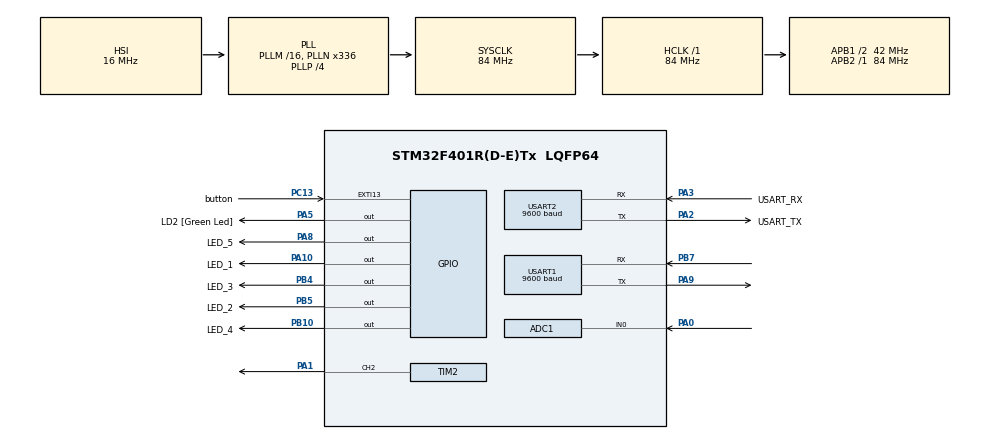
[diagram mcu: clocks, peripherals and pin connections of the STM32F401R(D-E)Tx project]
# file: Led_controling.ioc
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ADC1.Channel-2\#ChannelRegularConversion=ADC_CHANNEL_0
ADC1.NbrOfConversionFlag=1
ADC1.Rank-2\#ChannelRegularConversion=1
ADC1.SamplingTime-2\#ChannelRegularConversion=ADC_SAMPLETIME_3CYCLES
ADC1.master=1
Mcu.Family=STM32F4
Mcu.Name=STM32F401R(D-E)Tx
Mcu.Package=LQFP64
NVIC.EXTI15_10_IRQn=true\:0\:0\:false\:false\:true\:true\:true\:true
NVIC.PriorityGroup=NVIC_PRIORITYGROUP_0
PA0-WKUP.Signal=ADCx_IN0
PA1.Signal=S_TIM2_CH2
PA10.GPIO_Label=LED_1
PA10.Signal=GPIO_Output
PA13.GPIO_Label=TMS
PA13.Mode=Serial_Wire
PA13.Signal=SYS_JTMS-SWDIO
PA14.GPIO_Label=TCK
PA14.Mode=Serial_Wire
PA14.Signal=SYS_JTCK-SWCLK
PA2.GPIO_Label=USART_TX
PA2.GPIO_Mode=GPIO_MODE_AF_PP
PA2.GPIO_PuPd=GPIO_NOPULL
PA2.GPIO_Speed=GPIO_SPEED_FREQ_LOW
PA2.Mode=Asynchronous
PA2.Signal=USART2_TX
PA3.GPIO_Label=USART_RX
PA3.GPIO_Mode=GPIO_MODE_AF_PP
PA3.GPIO_PuPd=GPIO_NOPULL
PA3.GPIO_Speed=GPIO_SPEED_FREQ_LOW
PA3.Mode=Asynchronous
PA3.Signal=USART2_RX
PA5.GPIO_Label=LD2 [Green Led]
PA5.GPIO_Mode=GPIO_MODE_OUTPUT_PP
PA5.GPIO_PuPd=GPIO_NOPULL
PA5.GPIO_Speed=GPIO_SPEED_FREQ_LOW
PA5.Signal=GPIO_Output
PA8.GPIO_Label=LED_5
PA8.Signal=GPIO_Output
PA9.Mode=Asynchronous
PA9.Signal=USART1_TX
PB10.GPIO_Label=LED_4
PB10.Signal=GPIO_Output
PB3.GPIO_Label=SWO
PB3.Signal=SYS_JTDO-SWO
PB4.GPIO_Label=LED_3
PB4.Signal=GPIO_Output
PB5.GPIO_Label=LED_2
PB5.Signal=GPIO_Output
PB7.Mode=Asynchronous
PB7.Signal=USART1_RX
PC13-ANTI_TAMP.GPIO_Label=button
PC13-ANTI_TAMP.Signal=GPXTI13
PC14-OSC32_IN.Mode=LSE-External-Oscillator
PC14-OSC32_IN.Signal=RCC_OSC32_IN
PC15-OSC32_OUT.Mode=LSE-External-Oscillator
PC15-OSC32_OUT.Signal=RCC_OSC32_OUT
PH0\ -\ OSC_IN.Mode=HSE-External-Oscillator
PH0\ -\ OSC_IN.Signal=RCC_OSC_IN
PH1\ -\ OSC_OUT.Mode=HSE-External-Oscillator
PH1\ -\ OSC_OUT.Signal=RCC_OSC_OUT
ProjectManager.HeapSize=0x200
ProjectManager.StackSize=0x400
ProjectManager.TargetToolchain=STM32CubeIDE
RCC.48MHZClocksFreq_Value=48000000
RCC.AHBFreq_Value=84000000
RCC.APB1CLKDivider=RCC_HCLK_DIV2
RCC.APB1Freq_Value=42000000
RCC.APB1TimFreq_Value=84000000
RCC.APB2Freq_Value=84000000
RCC.APB2TimFreq_Value=84000000
RCC.CortexFreq_Value=84000000
RCC.HCLKFreq_Value=84000000
RCC.HSE_VALUE=8000000
RCC.HSI_VALUE=16000000
RCC.PLLN=336
RCC.PLLP=RCC_PLLP_DIV4
RCC.PLLQ=7
RCC.SYSCLKFreq_VALUE=84000000
RCC.SYSCLKSource=RCC_SYSCLKSOURCE_PLLCLK
RCC.VCOOutputFreq_Value=336000000
SH.ADCx_IN0.0=ADC1_IN0,IN0
SH.S_TIM2_CH2.0=TIM2_CH2,PWM Generation2 CH2
TIM2.Channel-PWM\ Generation2\ CH2=TIM_CHANNEL_2
TIM2.Period=4096
TIM2.Prescaler=2
USART1.BaudRate=9600
USART1.VirtualMode=VM_ASYNC
USART2.BaudRate=9600
USART2.VirtualMode=VM_ASYNC
VP_TIM2_VS_ClockSourceINT.Mode=Internal
board=NUCLEO-F401RE

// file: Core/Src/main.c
/* USER CODE BEGIN Header */
/**
  ******************************************************************************
  * @file           : main.c
  * @brief          : Main program body
  ******************************************************************************
  * @attention
  *
  * Copyright (c) 2023 STMicroelectronics.
  * All rights reserved.
  *
  * This software is licensed under terms that can be found in the LICENSE file
  * in the root directory of this software component.
  * If no LICENSE file comes with this software, it is provided AS-IS.
  *
  ******************************************************************************
  */
/* USER CODE END Header */
#include "main.h"

/* USER CODE BEGIN Includes */
#include <string.h>
#include <stdio.h>

uint16_t step;
uint16_t button = 0;
uint16_t data = 0;
//uint8_t pins[5]

/* USER CODE END Includes */

ADC_HandleTypeDef hadc1;

TIM_HandleTypeDef htim2;

UART_HandleTypeDef huart1;
UART_HandleTypeDef huart2;

void SystemClock_Config(void);
static void MX_GPIO_Init(void);
static void MX_USART2_UART_Init(void);
static void MX_ADC1_Init(void);
static void MX_TIM2_Init(void);
static void MX_USART1_UART_Init(void);

int main(void)
{

  /* MCU Configuration--------------------------------------------------------*/

  /* Reset of all peripherals, Initializes the Flash interface and the Systick. */
  HAL_Init();

  /* Configure the system clock */
  SystemClock_Config();

  /* Initialize all configured peripherals */
  MX_GPIO_Init();
  MX_USART2_UART_Init();
  MX_ADC1_Init();
  MX_TIM2_Init();
  MX_USART1_UART_Init();
  /* USER CODE BEGIN 2 */

  HAL_TIM_Base_Start(&htim2);
  HAL_TIM_PWM_Start(&htim2, TIM_CHANNEL_2);
  /* USER CODE END 2 */

  /* Infinite loop */
  /* USER CODE BEGIN WHILE */
  while (1)
  {
	  //funtion for switching button value is implemented at the bottom
	 if(button == 1)
	 {
		 HAL_ADC_Start(&hadc1);
		 HAL_ADC_PollForConversion(&hadc1, HAL_MAX_DELAY);
		 step = HAL_ADC_GetValue(&hadc1);

		 __HAL_TIM_SetCompare(&htim2, TIM_CHANNEL_2, step);
		 HAL_Delay(5);
	 }
	 else
	 {
		 HAL_UART_Receive (&huart1, &data, sizeof(data), 100);
		 //htio sam napraviti funkciju koja će paliti, odnosno gasiti pojedine ledice,
		 //ali nisam znao kako napraviti polje portova i pinova
		 //u svakom case-u bih proslijedio dobiveni podatak funkciji
		 //u for petlji koja bi isla npr do 5, usporediti npr if( i == 3)
		 //predati funkciji HAL_GPIO_WritePin(poljeportova[i], poljepinova[i], GPIO_PIN_SET)
		 //else HAL_GPIO_WritePin(poljeportova[i], poljepinova[i], GPIO_PIN_RESET)
		 switch(data)
		 {
		 case '1':
			 HAL_GPIO_WritePin(LED_1_GPIO_Port, LED_1_Pin, GPIO_PIN_SET);
			 HAL_GPIO_WritePin(LED_2_GPIO_Port, LED_2_Pin, GPIO_PIN_RESET);
			 HAL_GPIO_WritePin(LED_3_GPIO_Port, LED_3_Pin, GPIO_PIN_RESET);
			 HAL_GPIO_WritePin(LED_4_GPIO_Port, LED_4_Pin, GPIO_PIN_RESET);
			 HAL_GPIO_WritePin(LED_5_GPIO_Port, LED_5_Pin, GPIO_PIN_RESET);
			 break;

		 case '2':
			 HAL_GPIO_WritePin(LED_1_GPIO_Port, LED_1_Pin, GPIO_PIN_RESET);
			 HAL_GPIO_WritePin(LED_2_GPIO_Port, LED_2_Pin, GPIO_PIN_SET);
			 HAL_GPIO_WritePin(LED_3_GPIO_Port, LED_3_Pin, GPIO_PIN_RESET);
			 HAL_GPIO_WritePin(LED_4_GPIO_Port, LED_4_Pin, GPIO_PIN_RESET);
			 HAL_GPIO_WritePin(LED_5_GPIO_Port, LED_5_Pin, GPIO_PIN_RESET);
			 break;

		 case '3':
			 HAL_GPIO_WritePin(LED_1_GPIO_Port, LED_1_Pin, GPIO_PIN_RESET);
			 HAL_GPIO_WritePin(LED_2_GPIO_Port, LED_2_Pin, GPIO_PIN_RESET);
			 HAL_GPIO_WritePin(LED_3_GPIO_Port, LED_3_Pin, GPIO_PIN_SET);
			 HAL_GPIO_WritePin(LED_4_GPIO_Port, LED_4_Pin, GPIO_PIN_RESET);
			 HAL_GPIO_WritePin(LED_5_GPIO_Port, LED_5_Pin, GPIO_PIN_RESET);
			 break;

		 case '4':
		 	 HAL_GPIO_WritePin(LED_1_GPIO_Port, LED_1_Pin, GPIO_PIN_RESET);
		 	 HAL_GPIO_WritePin(LED_2_GPIO_Port, LED_2_Pin, GPIO_PIN_RESET);
		 	 HAL_GPIO_WritePin(LED_3_GPIO_Port, LED_3_Pin, GPIO_PIN_RESET);
		 	 HAL_GPIO_WritePin(LED_4_GPIO_Port, LED_4_Pin, GPIO_PIN_SET);
		 	 HAL_GPIO_WritePin(LED_5_GPIO_Port, LED_5_Pin, GPIO_PIN_RESET);
		 	 break;

		 case '5':
			 HAL_GPIO_WritePin(LED_1_GPIO_Port, LED_1_Pin, GPIO_PIN_RESET);
			 HAL_GPIO_WritePin(LED_2_GPIO_Port, LED_2_Pin, GPIO_PIN_RESET);
			 HAL_GPIO_WritePin(LED_3_GPIO_Port, LED_3_Pin, GPIO_PIN_RESET);
			 HAL_GPIO_WritePin(LED_4_GPIO_Port, LED_4_Pin, GPIO_PIN_RESET);
			 HAL_GPIO_WritePin(LED_5_GPIO_Port, LED_5_Pin, GPIO_PIN_SET);
		 	 break;

		 default:
			 HAL_GPIO_WritePin(LED_1_GPIO_Port, LED_1_Pin, GPIO_PIN_RESET);
			 HAL_GPIO_WritePin(LED_2_GPIO_Port, LED_2_Pin, GPIO_PIN_RESET);
			 HAL_GPIO_WritePin(LED_3_GPIO_Port, LED_3_Pin, GPIO_PIN_RESET);
			 HAL_GPIO_WritePin(LED_4_GPIO_Port, LED_4_Pin, GPIO_PIN_RESET);
			 HAL_GPIO_WritePin(LED_5_GPIO_Port, LED_5_Pin, GPIO_PIN_RESET);
			 break;
		 }

	 }

    /* USER CODE END WHILE */

  }
}

void SystemClock_Config(void)
{
  RCC_OscInitTypeDef RCC_OscInitStruct = {0};
  RCC_ClkInitTypeDef RCC_ClkInitStruct = {0};

  /** Configure the main internal regulator output voltage
  */
  __HAL_RCC_PWR_CLK_ENABLE();
  __HAL_PWR_VOLTAGESCALING_CONFIG(PWR_REGULATOR_VOLTAGE_SCALE2);

  /** Initializes the RCC Oscillators according to the specified parameters
  * in the RCC_OscInitTypeDef structure.
  */
  RCC_OscInitStruct.OscillatorType = RCC_OSCILLATORTYPE_HSI;
  RCC_OscInitStruct.HSIState = RCC_HSI_ON;
  RCC_OscInitStruct.HSICalibrationValue = RCC_HSICALIBRATION_DEFAULT;
  RCC_OscInitStruct.PLL.PLLState = RCC_PLL_ON;
  RCC_OscInitStruct.PLL.PLLSource = RCC_PLLSOURCE_HSI;
  RCC_OscInitStruct.PLL.PLLM = 16;
  RCC_OscInitStruct.PLL.PLLN = 336;
  RCC_OscInitStruct.PLL.PLLP = RCC_PLLP_DIV4;
  RCC_OscInitStruct.PLL.PLLQ = 7;
  if (HAL_RCC_OscConfig(&RCC_OscInitStruct) != HAL_OK)
  {
    Error_Handler();
  }

  /** Initializes the CPU, AHB and APB buses clocks
  */
  RCC_ClkInitStruct.ClockType = RCC_CLOCKTYPE_HCLK|RCC_CLOCKTYPE_SYSCLK
                              |RCC_CLOCKTYPE_PCLK1|RCC_CLOCKTYPE_PCLK2;
  RCC_ClkInitStruct.SYSCLKSource = RCC_SYSCLKSOURCE_PLLCLK;
  RCC_ClkInitStruct.AHBCLKDivider = RCC_SYSCLK_DIV1;
  RCC_ClkInitStruct.APB1CLKDivider = RCC_HCLK_DIV2;
  RCC_ClkInitStruct.APB2CLKDivider = RCC_HCLK_DIV1;

  if (HAL_RCC_ClockConfig(&RCC_ClkInitStruct, FLASH_LATENCY_2) != HAL_OK)
  {
    Error_Handler();
  }
}

static void MX_ADC1_Init(void)
{

  ADC_ChannelConfTypeDef sConfig = {0};

  /** Configure the global features of the ADC (Clock, Resolution, Data Alignment and number of conversion)
  */
  hadc1.Instance = ADC1;
  hadc1.Init.ClockPrescaler = ADC_CLOCK_SYNC_PCLK_DIV4;
  hadc1.Init.Resolution = ADC_RESOLUTION_12B;
  hadc1.Init.ScanConvMode = DISABLE;
  hadc1.Init.ContinuousConvMode = DISABLE;
  hadc1.Init.DiscontinuousConvMode = DISABLE;
  hadc1.Init.ExternalTrigConvEdge = ADC_EXTERNALTRIGCONVEDGE_NONE;
  hadc1.Init.ExternalTrigConv = ADC_SOFTWARE_START;
  hadc1.Init.DataAlign = ADC_DATAALIGN_RIGHT;
  hadc1.Init.NbrOfConversion = 1;
  hadc1.Init.DMAContinuousRequests = DISABLE;
  hadc1.Init.EOCSelection = ADC_EOC_SINGLE_CONV;
  if (HAL_ADC_Init(&hadc1) != HAL_OK)
  {
    Error_Handler();
  }

  /** Configure for the selected ADC regular channel its corresponding rank in the sequencer and its sample time.
  */
  sConfig.Channel = ADC_CHANNEL_0;
  sConfig.Rank = 1;
  sConfig.SamplingTime = ADC_SAMPLETIME_3CYCLES;
  if (HAL_ADC_ConfigChannel(&hadc1, &sConfig) != HAL_OK)
  {
    Error_Handler();
  }

}

static void MX_TIM2_Init(void)
{

  TIM_ClockConfigTypeDef sClockSourceConfig = {0};
  TIM_MasterConfigTypeDef sMasterConfig = {0};
  TIM_OC_InitTypeDef sConfigOC = {0};

  htim2.Instance = TIM2;
  htim2.Init.Prescaler = 2;
  htim2.Init.CounterMode = TIM_COUNTERMODE_UP;
  htim2.Init.Period = 4096;
  htim2.Init.ClockDivision = TIM_CLOCKDIVISION_DIV1;
  htim2.Init.AutoReloadPreload = TIM_AUTORELOAD_PRELOAD_DISABLE;
  if (HAL_TIM_Base_Init(&htim2) != HAL_OK)
  {
    Error_Handler();
  }
  sClockSourceConfig.ClockSource = TIM_CLOCKSOURCE_INTERNAL;
  if (HAL_TIM_ConfigClockSource(&htim2, &sClockSourceConfig) != HAL_OK)
  {
    Error_Handler();
  }
  if (HAL_TIM_PWM_Init(&htim2) != HAL_OK)
  {
    Error_Handler();
  }
  sMasterConfig.MasterOutputTrigger = TIM_TRGO_RESET;
  sMasterConfig.MasterSlaveMode = TIM_MASTERSLAVEMODE_DISABLE;
  if (HAL_TIMEx_MasterConfigSynchronization(&htim2, &sMasterConfig) != HAL_OK)
  {
    Error_Handler();
  }
  sConfigOC.OCMode = TIM_OCMODE_PWM1;
  sConfigOC.Pulse = 0;
  sConfigOC.OCPolarity = TIM_OCPOLARITY_HIGH;
  sConfigOC.OCFastMode = TIM_OCFAST_DISABLE;
  if (HAL_TIM_PWM_ConfigChannel(&htim2, &sConfigOC, TIM_CHANNEL_2) != HAL_OK)
  {
    Error_Handler();
  }
  HAL_TIM_MspPostInit(&htim2);

}

static void MX_USART1_UART_Init(void)
{

  huart1.Instance = USART1;
  huart1.Init.BaudRate = 9600;
  huart1.Init.WordLength = UART_WORDLENGTH_8B;
  huart1.Init.StopBits = UART_STOPBITS_1;
  huart1.Init.Parity = UART_PARITY_NONE;
  huart1.Init.Mode = UART_MODE_TX_RX;
  huart1.Init.HwFlowCtl = UART_HWCONTROL_NONE;
  huart1.Init.OverSampling = UART_OVERSAMPLING_16;
  if (HAL_UART_Init(&huart1) != HAL_OK)
  {
    Error_Handler();
  }

}

static void MX_USART2_UART_Init(void)
{

  huart2.Instance = USART2;
  huart2.Init.BaudRate = 9600;
  huart2.Init.WordLength = UART_WORDLENGTH_8B;
  huart2.Init.StopBits = UART_STOPBITS_1;
  huart2.Init.Parity = UART_PARITY_NONE;
  huart2.Init.Mode = UART_MODE_TX_RX;
  huart2.Init.HwFlowCtl = UART_HWCONTROL_NONE;
  huart2.Init.OverSampling = UART_OVERSAMPLING_16;
  if (HAL_UART_Init(&huart2) != HAL_OK)
  {
    Error_Handler();
  }

}

static void MX_GPIO_Init(void)
{
  GPIO_InitTypeDef GPIO_InitStruct = {0};

  /* GPIO Ports Clock Enable */
  __HAL_RCC_GPIOC_CLK_ENABLE();
  __HAL_RCC_GPIOH_CLK_ENABLE();
  __HAL_RCC_GPIOA_CLK_ENABLE();
  __HAL_RCC_GPIOB_CLK_ENABLE();

  /*Configure GPIO pin Output Level */
  HAL_GPIO_WritePin(GPIOA, LD2_Pin|LED_5_Pin|LED_1_Pin, GPIO_PIN_RESET);

  /*Configure GPIO pin Output Level */
  HAL_GPIO_WritePin(GPIOB, LED_4_Pin|LED_3_Pin|LED_2_Pin, GPIO_PIN_RESET);

  /*Configure GPIO pin : button_Pin */
  GPIO_InitStruct.Pin = button_Pin;
  GPIO_InitStruct.Mode = GPIO_MODE_IT_RISING;
  GPIO_InitStruct.Pull = GPIO_NOPULL;
  HAL_GPIO_Init(button_GPIO_Port, &GPIO_InitStruct);

  /*Configure GPIO pins : LD2_Pin LED_5_Pin LED_1_Pin */
  GPIO_InitStruct.Pin = LD2_Pin|LED_5_Pin|LED_1_Pin;
  GPIO_InitStruct.Mode = GPIO_MODE_OUTPUT_PP;
  GPIO_InitStruct.Pull = GPIO_NOPULL;
  GPIO_InitStruct.Speed = GPIO_SPEED_FREQ_LOW;
  HAL_GPIO_Init(GPIOA, &GPIO_InitStruct);

  /*Configure GPIO pins : LED_4_Pin LED_3_Pin LED_2_Pin */
  GPIO_InitStruct.Pin = LED_4_Pin|LED_3_Pin|LED_2_Pin;
  GPIO_InitStruct.Mode = GPIO_MODE_OUTPUT_PP;
  GPIO_InitStruct.Pull = GPIO_NOPULL;
  GPIO_InitStruct.Speed = GPIO_SPEED_FREQ_LOW;
  HAL_GPIO_Init(GPIOB, &GPIO_InitStruct);

  /* EXTI interrupt init*/
  HAL_NVIC_SetPriority(EXTI15_10_IRQn, 0, 0);
  HAL_NVIC_EnableIRQ(EXTI15_10_IRQn);

}

/* USER CODE BEGIN 4 */
//Button variable changes value from 0 to 1 and 1 to 0 if button is pressed
void HAL_GPIO_EXTI_Callback(uint16_t GPIO_Pin)
{
    if(GPIO_Pin == button_Pin) // INT Source is pin A9
    {
    if(button == 1)
    {
    	step = 0;
    	__HAL_TIM_SetCompare(&htim2, TIM_CHANNEL_2, step);
    	button = 0;
    }
    else
    {
    	data = 0;
    	HAL_GPIO_WritePin(LED_1_GPIO_Port, LED_1_Pin, GPIO_PIN_RESET);
    	HAL_GPIO_WritePin(LED_2_GPIO_Port, LED_2_Pin, GPIO_PIN_RESET);
    	HAL_GPIO_WritePin(LED_3_GPIO_Port, LED_3_Pin, GPIO_PIN_RESET);
    	HAL_GPIO_WritePin(LED_4_GPIO_Port, LED_4_Pin, GPIO_PIN_RESET);
    	HAL_GPIO_WritePin(LED_5_GPIO_Port, LED_5_Pin, GPIO_PIN_RESET);
    	button = 1;
    }
}
}

/* USER CODE END 4 */

void Error_Handler(void)
{
  __disable_irq();
  while (1)
  {
  }
}
